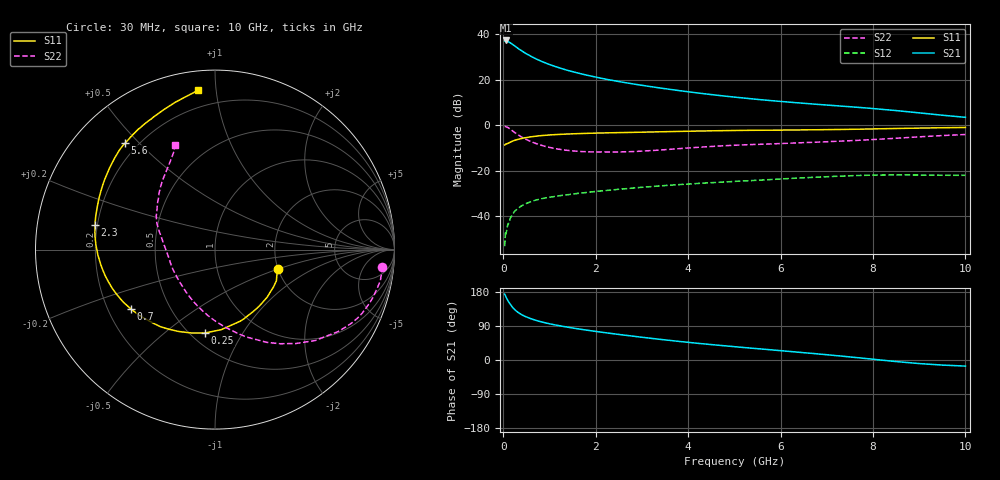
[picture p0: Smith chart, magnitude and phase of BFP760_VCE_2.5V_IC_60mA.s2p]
! (c) 2012  Infineon Technologies AG, Munich
! Infineon Technologies  Discrete & RF Semiconductors
! BFP760
! VCE =  2.5 V,  IC =  60 mA
! Common Emitter S-Parameters:  Nov 2012
# GHz  S  MA  R  50
!  f  S11  S21  S12  S22
! GHz  MAG  ANG  MAG  ANG  MAG  ANG  MAG  ANG
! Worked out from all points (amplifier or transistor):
!   99 points, 30 MHz to 10 GHz, reference 50 ohm
!   highest |S21| = 37.3 dB at 50 MHz (marker M1)
!   |S21| within 3 dB of that: start of sweep to 290.1 MHz
!   unconditionally stable (mu >= 1): 3.341 GHz to end of sweep
!   at 350 MHz: K = 0.41, MSG = 34.7 dB, |S12| = -36.1 dB
!   at 3.5 GHz: K = 1.01, MAG = 20.7 dB, |S12| = -26.5 dB
!   at 10 GHz: K = 1.05, MAG = 11.4 dB, |S12| = -22.0 dB
!   S11 on the Smith chart (normalised r, x): 30 MHz: 2.00, -0.51; 250 MHz: 0.59, -0.70; 700 MHz: 0.30, -0.29; 2.3 GHz: 0.19, +0.10; 5.6 GHz: 0.15, +0.46; 10 GHz: 0.10, +0.89
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0.03  0.3679 -17.3  71.36 174.0  0.0022 83.0  0.9372 -5.8
0.04  0.3723 -22.2  71.82 171.9  0.0029 86.2  0.9373 -8.5
0.05  0.3835 -26.8  73.07 168.8  0.0047 94.7  0.9372 -10.8
0.07  0.3885 -37.8  72.84 163.8  0.0046 71.6  0.9213 -16.2
0.09  0.3952 -46.9  70.89 159.2  0.0059 71.1  0.9031 -20.9
0.15  0.423 -70.7  65.13 147.4  0.009 66.3  0.8226 -33.8
0.2  0.4474 -85.5  59.95 139.3  0.0109 64.5  0.754 -42.2
0.25  0.4676 -96.7  55.45 132.8  0.013 59.3  0.6901 -49.3
0.35  0.4989 -113.8  46.5 123.2  0.0157 55.4  0.5912 -60.9
0.45  0.5262 -125.3  39.97 116.3  0.018 52.0  0.5178 -70.2
0.6  0.5565 -138.1  32.8 108.9  0.0209 48.2  0.4373 -82.3
0.7  0.5735 -144.7  29.11 104.9  0.0226 46.2  0.3997 -89.5
0.9  0.6008 -155.1  23.73 98.4  0.0251 43.5  0.3448 -102.4
1.1  0.6201 -163.1  19.94 93.1  0.0271 42.1  0.3098 -113.7
1.7  0.6583 -180.0  13.39 80.7  0.0325 40.6  0.2636 -140.0
2.3  0.682 168.4  9.952 70.6  0.0374 40.2  0.2582 -159.4
3.4  0.718 151.3  6.581 54.4  0.0465 38.6  0.2862 174.2
5.1  0.7693 133.5  4.061 34.1  0.059 34.2  0.367 152.8
5.6  0.7765 130.1  3.624 28.9  0.0625 32.8  0.3827 148.3
6.7  0.7956 122.4  2.931 17.3  0.0715 28.5  0.4222 138.6
8.5  0.8493 105.3  2.101 -4.1  0.0812 16.6  0.5176 121.4
10  0.8939 96.1  1.493 -16.1  0.0794 11.1  0.6265 111.0
